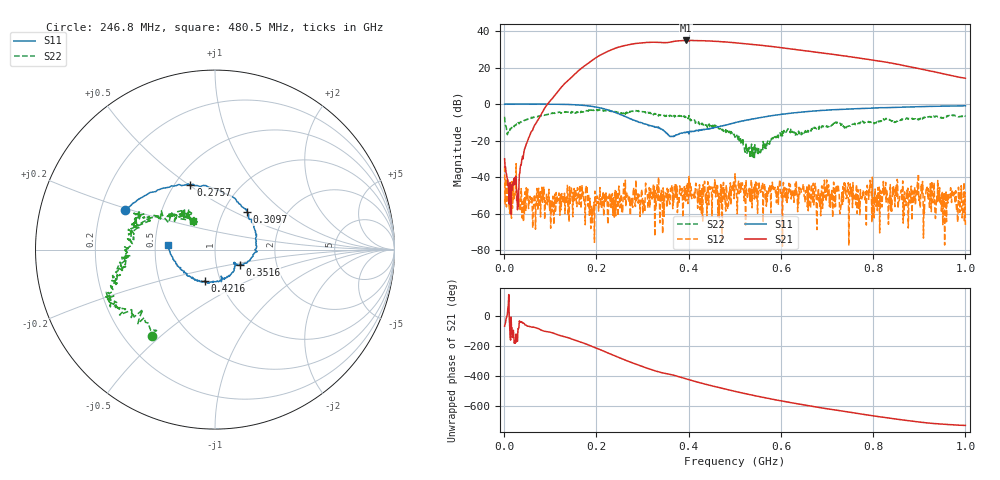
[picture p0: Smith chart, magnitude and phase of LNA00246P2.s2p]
! Created with skrf 1.9.0 (http://scikit-rf.org).
# Hz S RI R 50.0
!freq ReS11 ImS11 ReS21 ImS21 ReS12 ImS12 ReS22 ImS22
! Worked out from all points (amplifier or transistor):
!   1001 points, 1 MHz to 1 GHz, reference 50 ohm
!   highest |S21| = 34.9 dB at 394.6 MHz (marker M1)
!   |S21| within 3 dB of that: 257.7 MHz to 568.6 MHz (310.9 MHz wide, 75.2 % of centre)
!   unconditionally stable (mu >= 1): start of sweep to 74.73 MHz; 214.8 MHz to 285.5 MHz; 400.7 MHz to end of sweep (the widest 3 of 24)
!   at 166.8 MHz: K = 3.55, MAG = 29.9 dB, |S12| = -57.2 dB
!   at 500.5 MHz: K = 1.06, MAG = 34.5 dB, |S12| = -38.2 dB
!   at 1 GHz: K = 31.03, MAG = 22.3 dB, |S12| = -66.2 dB
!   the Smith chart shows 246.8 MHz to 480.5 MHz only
!   S11 on the Smith chart (normalised r, x): 246.8 MHz: 0.30, +0.19; 275.7 MHz: 0.60, +0.51; 309.7 MHz: 1.29, +0.58; 351.6 MHz: 1.29, -0.23; 421.6 MHz: 0.84, -0.30; 480.5 MHz: 0.58, +0.04
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1000000  0.9833 0.0102  0.0115 -0.0297  -0.0192 0.00424  0.3382 0.2941
1.08892e8  0.5096 -0.8523  -0.7717 -1.482  0.00115 -0.000295  0.4143 -0.3684
1.67833e8  -0.2512 -0.8934  -9.65 -0.6254  0.00284 -0.000416  0.0485 -0.6251
2.11789e8  -0.6923 -0.3317  -15.06 17.54  0.000234 -0.00142  -0.1916 -0.6454
2.46754e8  -0.5038 0.2199  2.697 35.77  0.000581 0.000626  -0.3495 -0.4799
2.75725e8  -0.1371 0.3601  28.14 33.59  -0.00166 -0.000748  -0.5548 -0.309
3.09691e8  0.1793 0.2096  47.69 10.63  -0.00319 0.00184  -0.575 -0.1731
3.34666e8  0.2353 -0.0112  48.03 -10.03  -0.00354 0.00937  -0.4701 -0.0343
3.51649e8  0.1366 -0.086  44.06 -19.67  -0.00256 0.00102  -0.464 0.042
3.72628e8  0.1152 -0.0875  41.56 -33.28  -0.00269 0.0055  -0.4641 0.1384
3.94606e8  0.0665 -0.155  28.3 -47.55  0.000602 0.00241  -0.3982 0.1786
4.21579e8  -0.0556 -0.1737  7.497 -54.09  0.000747 -0.00203  -0.2595 0.1993
4.49551e8  -0.1862 -0.1147  -13.29 -51.36  0.00168 0.0042  -0.1664 0.1837
4.8052e8  -0.2644 0.0281  -30.4 -40.23  0.000359 0.00111  -0.1199 0.1598
5.005e8  -0.2713 0.1499  -37.71 -29.88  0.011 -0.00546  -0.0993 0.0723
5.4046e8  -0.1924 0.3469  -41.9 -8.766  0.004 0.00155  -0.0612 0.0255
5.88412e8  0.021 0.4966  -34.87 11.27  0.00174 -0.00332  -0.1009 -0.0771
6.67333e8  0.4025 0.4962  -13.33 23.68  0.00234 -0.00112  -0.1932 -0.0492
7.53247e8  0.681 0.2784  4.132 19.04  -0.00216 -0.00209  -0.2602 -0.00815
8.34166e8  0.8016 0.012  10.27 8.997  0.000455 0.00154  -0.3706 0.0111
9.09091e8  0.8167 -0.2504  8.633 1.735  0.000203 -6.46e-05  -0.3843 0.1547
1e9  0.7278 -0.5271  5.056 -0.6819  -0.00024 -0.000426  -0.3207 0.317
